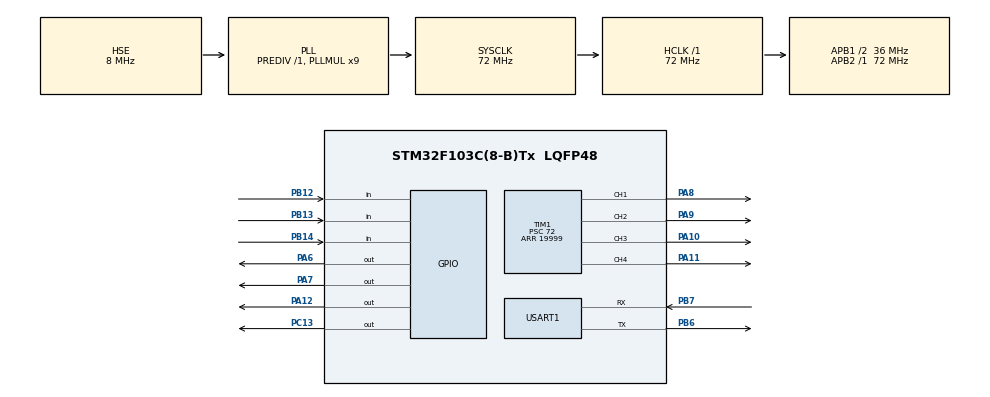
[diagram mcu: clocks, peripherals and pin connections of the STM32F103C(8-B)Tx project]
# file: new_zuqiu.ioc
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Dma.Request0=USART1_TX
Dma.USART1_TX.0.Direction=DMA_MEMORY_TO_PERIPH
Dma.USART1_TX.0.Instance=DMA1_Channel4
Dma.USART1_TX.0.MemDataAlignment=DMA_MDATAALIGN_BYTE
Dma.USART1_TX.0.MemInc=DMA_MINC_ENABLE
Dma.USART1_TX.0.Mode=DMA_NORMAL
Dma.USART1_TX.0.PeriphDataAlignment=DMA_PDATAALIGN_BYTE
Dma.USART1_TX.0.PeriphInc=DMA_PINC_DISABLE
Dma.USART1_TX.0.Priority=DMA_PRIORITY_LOW
Mcu.Family=STM32F1
Mcu.Name=STM32F103C(8-B)Tx
Mcu.Package=LQFP48
NVIC.DMA1_Channel4_IRQn=true\:0\:0\:false\:false\:true\:false\:true\:true
NVIC.PriorityGroup=NVIC_PRIORITYGROUP_4
NVIC.USART1_IRQn=true\:0\:0\:false\:false\:true\:false\:true\:true
PA10.Signal=S_TIM1_CH3
PA11.Signal=S_TIM1_CH4
PA12.Signal=GPIO_Output
PA13.Mode=Serial_Wire
PA13.Signal=SYS_JTMS-SWDIO
PA14.Mode=Serial_Wire
PA14.Signal=SYS_JTCK-SWCLK
PA6.Signal=GPIO_Output
PA7.Signal=GPIO_Output
PA8.Signal=S_TIM1_CH1
PA9.Signal=S_TIM1_CH2
PB12.GPIO_PuPd=GPIO_PULLUP
PB12.Signal=GPIO_Input
PB13.GPIO_PuPd=GPIO_PULLUP
PB13.Signal=GPIO_Input
PB14.GPIO_PuPd=GPIO_PULLUP
PB14.Signal=GPIO_Input
PB6.Mode=Asynchronous
PB6.Signal=USART1_TX
PB7.Mode=Asynchronous
PB7.Signal=USART1_RX
PC13-TAMPER-RTC.Signal=GPIO_Output
PD0-OSC_IN.Mode=HSE-External-Oscillator
PD0-OSC_IN.Signal=RCC_OSC_IN
PD1-OSC_OUT.Mode=HSE-External-Oscillator
PD1-OSC_OUT.Signal=RCC_OSC_OUT
ProjectManager.HeapSize=0x200
ProjectManager.StackSize=0x400
ProjectManager.TargetToolchain=MDK-ARM V5.32
RCC.AHBFreq_Value=72000000
RCC.APB1CLKDivider=RCC_HCLK_DIV2
RCC.APB1Freq_Value=36000000
RCC.APB1TimFreq_Value=72000000
RCC.APB2Freq_Value=72000000
RCC.APB2TimFreq_Value=72000000
RCC.HCLKFreq_Value=72000000
RCC.PLLMUL=RCC_PLL_MUL9
RCC.PLLSourceVirtual=RCC_PLLSOURCE_HSE
RCC.SYSCLKFreq_VALUE=72000000
RCC.SYSCLKSource=RCC_SYSCLKSOURCE_PLLCLK
RCC.USBFreq_Value=72000000
SH.S_TIM1_CH1.0=TIM1_CH1,PWM Generation1 CH1
SH.S_TIM1_CH2.0=TIM1_CH2,PWM Generation2 CH2
SH.S_TIM1_CH3.0=TIM1_CH3,PWM Generation3 CH3
SH.S_TIM1_CH4.0=TIM1_CH4,PWM Generation4 CH4
TIM1.Channel-PWM\ Generation1\ CH1=TIM_CHANNEL_1
TIM1.Channel-PWM\ Generation2\ CH2=TIM_CHANNEL_2
TIM1.Channel-PWM\ Generation3\ CH3=TIM_CHANNEL_3
TIM1.Channel-PWM\ Generation4\ CH4=TIM_CHANNEL_4
TIM1.OCIdleState_1=TIM_OCIDLESTATE_RESET
TIM1.OCPolarity_1=TIM_OCPOLARITY_LOW
TIM1.OCPolarity_2=TIM_OCPOLARITY_LOW
TIM1.OCPolarity_3=TIM_OCPOLARITY_LOW
TIM1.OCPolarity_4=TIM_OCPOLARITY_LOW
TIM1.Period=19999
TIM1.Prescaler=72
USART1.VirtualMode=VM_ASYNC
VP_TIM1_VS_ClockSourceINT.Mode=Internal
board=custom

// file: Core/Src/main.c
/* USER CODE BEGIN Header */
/**
  ******************************************************************************
  * @file           : main.c
  * @brief          : Main program body
  ******************************************************************************
  * @attention
  *
  * Copyright (c) 2026 STMicroelectronics.
  * All rights reserved.
  *
  * This software is licensed under terms that can be found in the LICENSE file
  * in the root directory of this software component.
  * If no LICENSE file comes with this software, it is provided AS-IS.
  *
  ******************************************************************************
  */
/* USER CODE END Header */
#include "main.h"
#include "dma.h"
#include "tim.h"
#include "usart.h"
#include "gpio.h"

/* USER CODE BEGIN Includes */
#include "BSP_SERVO.H"

/* USER CODE END Includes */

void SystemClock_Config(void);

/* USER CODE BEGIN 0 */
uint16_t tem_num=1500;

/* USER CODE BEGIN 0 */

// 1. 定义你要发送的16进制数据 (请把你实际要发的16进制替换进大括号里)
// 注意：因为是DMA发送，数组必须是全局变量，不能放在函数内部！
uint8_t UartTxBuf[] = {0xAA, 0xBB, 0xCC, 0x01, 0x02};

// 2. 遥控器初始化补丁函数
void RemoteControl_Init_Patch(void)
{
    // 发送前：PA6拉低，PA7拉高
    HAL_GPIO_WritePin(GPIOA, GPIO_PIN_6, GPIO_PIN_RESET);
    HAL_GPIO_WritePin(GPIOA, GPIO_PIN_7, GPIO_PIN_SET);

    // 计算要发送的数据长度
    uint16_t length = sizeof(UartTxBuf) / sizeof(UartTxBuf[0]);

    // 启动DMA发送 (非阻塞)
    HAL_UART_Transmit_DMA(&huart1, UartTxBuf, length);
}

// 3. 串口发送完成回调函数 (当DMA把数据全部通过串口发完后，会自动跳进这个函数)
void HAL_UART_TxCpltCallback(UART_HandleTypeDef *huart)
{
    // 判断是不是串口1发送完成
    if(huart->Instance == USART1)
    {
        // 发送后：PA6和PA7全部拉低
        HAL_GPIO_WritePin(GPIOA, GPIO_PIN_6, GPIO_PIN_RESET);
        HAL_GPIO_WritePin(GPIOA, GPIO_PIN_7, GPIO_PIN_RESET);
    }
}
/* USER CODE END 0 */
/* USER CODE END 0 */

int main(void)
{

  /* MCU Configuration--------------------------------------------------------*/

  /* Reset of all peripherals, Initializes the Flash interface and the Systick. */
  HAL_Init();

  /* Configure the system clock */
  SystemClock_Config();

  /* Initialize all configured peripherals */
  MX_GPIO_Init();
  MX_DMA_Init();
  MX_TIM1_Init();
  MX_USART1_UART_Init();
  /* USER CODE BEGIN 2 */
	Servo_Init();
	RemoteControl_Init_Patch();
  /* USER CODE END 2 */

  /* Infinite loop */
  /* USER CODE BEGIN WHILE */
  while (1)
  {
//				//???????
//		HAL_GPIO_WritePin(GPIOA,GPIO_PIN_12,GPIO_PIN_SET);
//		HAL_Delay(500);
//		HAL_GPIO_WritePin(GPIOA,GPIO_PIN_12,GPIO_PIN_RESET);
		HAL_Delay(500);

//		HAL_GPIO_WritePin(GPIOA,GPIO_PIN_6,GPIO_PIN_RESET);
//		HAL_GPIO_WritePin(GPIOA,GPIO_PIN_7,GPIO_PIN_SET);
//
//		qianjin();
		tem_num+=100;
		konzhi(tem_num);
		if(tem_num>1800){
			tem_num=1200;
		}

//							/* ???????????? */
//			if (HAL_GPIO_ReadPin(GPIOB, GPIO_PIN_12) == GPIO_PIN_RESET)
//			{
//					/* ?? PB12 ??? */
//					HAL_GPIO_TogglePin(GPIOC, GPIO_PIN_13);
//					konzhi(1300);
//					/* ??????(?????),????????? */
//					HAL_Delay(20);
//					while (HAL_GPIO_ReadPin(GPIOB, GPIO_PIN_12) == GPIO_PIN_RESET)
//					{
//							// ?????????????
//					}
//			}
//
//
//			/* ???????????? */
//			if (HAL_GPIO_ReadPin(GPIOB, GPIO_PIN_14) == GPIO_PIN_RESET)
//			{
//					/* ?? PB12 ??? */
//					HAL_GPIO_TogglePin(GPIOC, GPIO_PIN_13);
//					konzhi(1500);
//					/* ??????(?????),????????? */
//					HAL_Delay(20);
//					while (HAL_GPIO_ReadPin(GPIOB, GPIO_PIN_14) == GPIO_PIN_RESET)
//					{
//							// ?????????????
//					}
//			}
//
//							/* ???????????? */
//			if (HAL_GPIO_ReadPin(GPIOB, GPIO_PIN_13) == GPIO_PIN_RESET)
//			{
//					/* ?? PB12 ??? */
//					HAL_GPIO_TogglePin(GPIOC, GPIO_PIN_13);
//					konzhi(1700);
//					/* ??????(?????),????????? */
//					HAL_Delay(20);
//					while (HAL_GPIO_ReadPin(GPIOB, GPIO_PIN_13) == GPIO_PIN_RESET)
//					{
//							// ?????????????
//					}
//			}

    /* USER CODE END WHILE */

  }
}

void SystemClock_Config(void)
{
  RCC_OscInitTypeDef RCC_OscInitStruct = {0};
  RCC_ClkInitTypeDef RCC_ClkInitStruct = {0};

  /** Initializes the RCC Oscillators according to the specified parameters
  * in the RCC_OscInitTypeDef structure.
  */
  RCC_OscInitStruct.OscillatorType = RCC_OSCILLATORTYPE_HSE;
  RCC_OscInitStruct.HSEState = RCC_HSE_ON;
  RCC_OscInitStruct.HSEPredivValue = RCC_HSE_PREDIV_DIV1;
  RCC_OscInitStruct.HSIState = RCC_HSI_ON;
  RCC_OscInitStruct.PLL.PLLState = RCC_PLL_ON;
  RCC_OscInitStruct.PLL.PLLSource = RCC_PLLSOURCE_HSE;
  RCC_OscInitStruct.PLL.PLLMUL = RCC_PLL_MUL9;
  if (HAL_RCC_OscConfig(&RCC_OscInitStruct) != HAL_OK)
  {
    Error_Handler();
  }

  /** Initializes the CPU, AHB and APB buses clocks
  */
  RCC_ClkInitStruct.ClockType = RCC_CLOCKTYPE_HCLK|RCC_CLOCKTYPE_SYSCLK
                              |RCC_CLOCKTYPE_PCLK1|RCC_CLOCKTYPE_PCLK2;
  RCC_ClkInitStruct.SYSCLKSource = RCC_SYSCLKSOURCE_PLLCLK;
  RCC_ClkInitStruct.AHBCLKDivider = RCC_SYSCLK_DIV1;
  RCC_ClkInitStruct.APB1CLKDivider = RCC_HCLK_DIV2;
  RCC_ClkInitStruct.APB2CLKDivider = RCC_HCLK_DIV1;

  if (HAL_RCC_ClockConfig(&RCC_ClkInitStruct, FLASH_LATENCY_2) != HAL_OK)
  {
    Error_Handler();
  }
}

void Error_Handler(void)
{
  __disable_irq();
  while (1)
  {
  }
}
